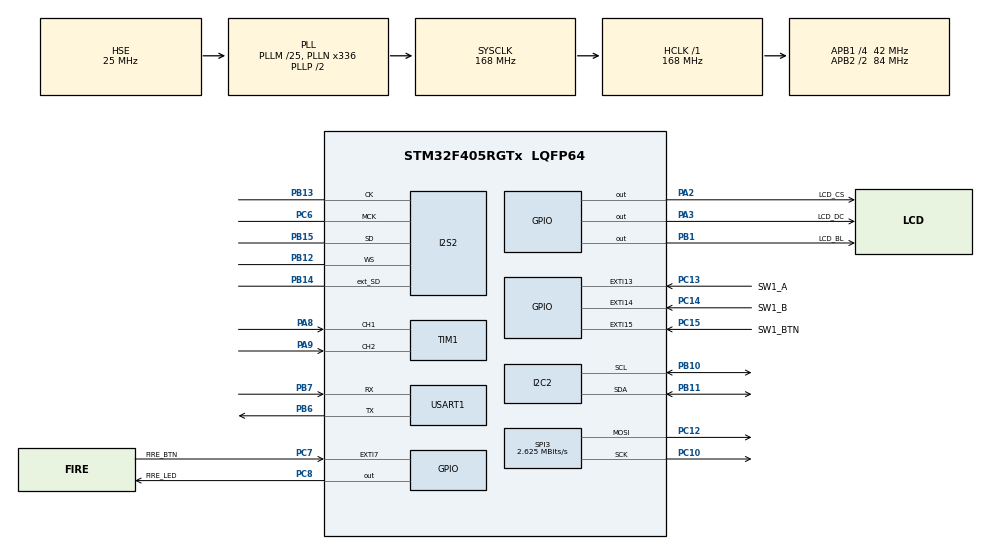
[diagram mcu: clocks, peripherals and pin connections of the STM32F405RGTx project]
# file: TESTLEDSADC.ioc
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Dma.Request0=SPI2_TX
Dma.SPI2_TX.0.Direction=DMA_MEMORY_TO_PERIPH
Dma.SPI2_TX.0.FIFOMode=DMA_FIFOMODE_ENABLE
Dma.SPI2_TX.0.FIFOThreshold=DMA_FIFO_THRESHOLD_FULL
Dma.SPI2_TX.0.Instance=DMA1_Stream4
Dma.SPI2_TX.0.MemBurst=DMA_MBURST_SINGLE
Dma.SPI2_TX.0.MemDataAlignment=DMA_MDATAALIGN_HALFWORD
Dma.SPI2_TX.0.MemInc=DMA_MINC_ENABLE
Dma.SPI2_TX.0.Mode=DMA_CIRCULAR
Dma.SPI2_TX.0.PeriphBurst=DMA_PBURST_SINGLE
Dma.SPI2_TX.0.PeriphDataAlignment=DMA_PDATAALIGN_HALFWORD
Dma.SPI2_TX.0.PeriphInc=DMA_PINC_DISABLE
Dma.SPI2_TX.0.Priority=DMA_PRIORITY_HIGH
I2S2.AudioFreq=I2S_AUDIOFREQ_48K
I2S2.DataFormat=I2S_DATAFORMAT_16B
I2S2.ErrorAudioFreq=-2.34 %
I2S2.FullDuplexMode=I2S_FULLDUPLEXMODE_ENABLE
I2S2.Instance=SPI$Index
I2S2.RealAudioFreq=46.875 KHz
I2S2.VirtualMode=I2S_MODE_MASTER
Mcu.Family=STM32F4
Mcu.Name=STM32F405RGTx
Mcu.Package=LQFP64
NVIC.DMA1_Stream4_IRQn=true\:0\:0\:false\:false\:true\:false\:true
NVIC.EXTI15_10_IRQn=true\:0\:0\:false\:false\:true\:true\:true
NVIC.EXTI9_5_IRQn=true\:0\:0\:false\:false\:true\:true\:true
NVIC.PriorityGroup=NVIC_PRIORITYGROUP_4
PA13.Mode=Serial_Wire
PA13.Signal=SYS_JTMS-SWDIO
PA14.Mode=Serial_Wire
PA14.Signal=SYS_JTCK-SWCLK
PA2.GPIO_Label=LCD_CS
PA2.Signal=GPIO_Output
PA3.GPIO_Label=LCD_DC
PA3.Signal=GPIO_Output
PA8.GPIO_PuPd=GPIO_PULLUP
PA8.Signal=S_TIM1_CH1
PA9.GPIO_PuPd=GPIO_PULLUP
PA9.Signal=S_TIM1_CH2
PB1.GPIO_Label=LCD_BL
PB1.Signal=GPIO_Output
PB10.Mode=I2C
PB10.Signal=I2C2_SCL
PB11.Mode=I2C
PB11.Signal=I2C2_SDA
PB12.Mode=Full_Duplex_Master
PB12.Signal=I2S2_WS
PB13.Mode=Full_Duplex_Master
PB13.Signal=I2S2_CK
PB14.Mode=Full_Duplex_Master
PB14.Signal=I2S2_ext_SD
PB15.Mode=Full_Duplex_Master
PB15.Signal=I2S2_SD
PB6.Mode=Asynchronous
PB6.Signal=USART1_TX
PB7.Mode=Asynchronous
PB7.Signal=USART1_RX
PC10.Mode=TX_Only_Simplex_Unidirect_Master
PC10.Signal=SPI3_SCK
PC12.Mode=TX_Only_Simplex_Unidirect_Master
PC12.Signal=SPI3_MOSI
PC13-ANTI_TAMP.GPIO_Label=SW1_A
PC13-ANTI_TAMP.GPIO_PuPd=GPIO_PULLUP
PC13-ANTI_TAMP.Signal=GPXTI13
PC14-OSC32_IN.GPIO_Label=SW1_B
PC14-OSC32_IN.GPIO_PuPd=GPIO_PULLUP
PC14-OSC32_IN.Signal=GPXTI14
PC15-OSC32_OUT.GPIO_Label=SW1_BTN
PC15-OSC32_OUT.GPIO_ModeDefaultEXTI=GPIO_MODE_IT_RISING
PC15-OSC32_OUT.GPIO_PuPd=GPIO_PULLUP
PC15-OSC32_OUT.Signal=GPXTI15
PC6.Mode=Master_Clock_Activated
PC6.Signal=I2S2_MCK
PC7.GPIO_Label=FIRE_BTN
PC7.GPIO_ModeDefaultEXTI=GPIO_MODE_IT_RISING_FALLING
PC7.GPIO_PuPd=GPIO_PULLUP
PC7.Signal=GPXTI7
PC8.GPIO_Label=FIRE_LED
PC8.Signal=GPIO_Output
PH0-OSC_IN.Mode=HSE-External-Oscillator
PH0-OSC_IN.Signal=RCC_OSC_IN
PH1-OSC_OUT.Mode=HSE-External-Oscillator
PH1-OSC_OUT.Signal=RCC_OSC_OUT
ProjectManager.HeapSize=0x200
ProjectManager.StackSize=0x400
ProjectManager.TargetToolchain=STM32CubeIDE
RCC.48MHZClocksFreq_Value=48000000
RCC.AHBFreq_Value=168000000
RCC.APB1CLKDivider=RCC_HCLK_DIV4
RCC.APB1Freq_Value=42000000
RCC.APB1TimFreq_Value=84000000
RCC.APB2CLKDivider=RCC_HCLK_DIV2
RCC.APB2Freq_Value=84000000
RCC.APB2TimFreq_Value=168000000
RCC.CortexFreq_Value=168000000
RCC.HCLKFreq_Value=168000000
RCC.HSE_VALUE=25000000
RCC.HSI_VALUE=16000000
RCC.LSE_VALUE=32768
RCC.PLLI2SN=144
RCC.PLLI2SR=3
RCC.PLLM=25
RCC.PLLN=336
RCC.PLLQ=7
RCC.PLLSourceVirtual=RCC_PLLSOURCE_HSE
RCC.SYSCLKFreq_VALUE=168000000
RCC.SYSCLKSource=RCC_SYSCLKSOURCE_PLLCLK
RCC.VCOOutputFreq_Value=336000000
SH.S_TIM1_CH1.0=TIM1_CH1,Encoder_Interface
SH.S_TIM1_CH2.0=TIM1_CH2,Encoder_Interface
SPI3.BaudRatePrescaler=SPI_BAUDRATEPRESCALER_16
SPI3.CalculateBaudRate=2.625 MBits/s
SPI3.Direction=SPI_DIRECTION_2LINES
SPI3.Mode=SPI_MODE_MASTER
SPI3.VirtualType=VM_MASTER
TIM1.EncoderMode=TIM_ENCODERMODE_TI12
TIM1.IC1Polarity=TIM_ICPOLARITY_FALLING
TIM1.IC2Polarity=TIM_ICPOLARITY_FALLING
USART1.VirtualMode=VM_ASYNC
VP_RNG_VS_RNG.Mode=RNG_Activate
board=custom

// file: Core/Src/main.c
/* USER CODE BEGIN Header */
/**
  ******************************************************************************
  * @file           : main.c
  * @brief          : Main program body
  ******************************************************************************
  * @attention
  *
  * <h2><center>&copy; Copyright (c) 2020 STMicroelectronics.
  * All rights reserved.</center></h2>
  *
  * This software component is licensed by ST under BSD 3-Clause license,
  * the "License"; You may not use this file except in compliance with the
  * License. You may obtain a copy of the License at:
  *                        opensource.org/licenses/BSD-3-Clause
  *
  ******************************************************************************
  */
/* USER CODE END Header */
#include "main.h"

/* USER CODE BEGIN Includes */
#include <stdio.h>
// #include "wm8978.h"
#include "maincpp.h"
/* DMA buffers for I2S */
//#include "audio.h"
/* USER CODE END Includes */

/* USER CODE BEGIN PD */
int nLoop = 0;

bool demoMode = true;
bool freeze = false;
bool sequencerIsOn = false;
//extern ADSR_t adsr;

/* USER CODE END PD */

I2C_HandleTypeDef hi2c2;

I2S_HandleTypeDef hi2s2;
DMA_HandleTypeDef hdma_spi2_tx;

RNG_HandleTypeDef hrng;

SPI_HandleTypeDef hspi3;

TIM_HandleTypeDef htim1;

UART_HandleTypeDef huart1;

void SystemClock_Config(void);
static void MX_GPIO_Init(void);
static void MX_DMA_Init(void);
static void MX_I2C2_Init(void);
static void MX_I2S2_Init(void);
static void MX_USART1_UART_Init(void);
static void MX_RNG_Init(void);
static void MX_SPI3_Init(void);
static void MX_TIM1_Init(void);

/* USER CODE BEGIN 0 */
int timer1 = 0;

/* USER CODE END 0 */

int main(void)
{

  /* MCU Configuration--------------------------------------------------------*/

  /* Reset of all peripherals, Initializes the Flash interface and the Systick. */
  HAL_Init();

  /* Configure the system clock */
  SystemClock_Config();

  /* Initialize all configured peripherals */
  MX_GPIO_Init();
  MX_DMA_Init();
  MX_I2C2_Init();
  MX_I2S2_Init();
  MX_USART1_UART_Init();
  MX_RNG_Init();
  MX_SPI3_Init();
  MX_TIM1_Init();
  /* USER CODE BEGIN 2 */

  // Start the Encoder Timers

  HAL_TIM_Encoder_Start(&htim1, TIM_CHANNEL_ALL);

  // Start the synth
  // Synth_Init();

  PS_Communication_Interface comms;
  comms.i2c = &hi2c2;
  comms.i2s = &hi2s2;
  comms.spi = &hspi3;
  comms.uart = &huart1;

  PS_Encoder_Timers enc;
  enc.tim1 = &htim1;

  LCD_GPIO lcd;
  lcd.CEPORT = LCD_CS_GPIO_Port;
  lcd.CEPIN = LCD_CS_Pin;
  lcd.DCPORT = LCD_DC_GPIO_Port;
  lcd.DCPIN = LCD_DC_Pin;
  lcd.BLPORT = LCD_BL_GPIO_Port;
  lcd.BLPIN = LCD_BL_Pin;
  lcd.SPICH = &hspi3;

  maincpp(&comms, &enc, &lcd); /// we can't use c++ reference here
  /* USER CODE END 2 */

  /* Infinite loop */
  /* USER CODE BEGIN WHILE */
  while (1)
  {
    // PS_Application();
    // timer1 = TIM1->CNT;
    /* USER CODE END WHILE */

  }
}

void SystemClock_Config(void)
{
  RCC_OscInitTypeDef RCC_OscInitStruct = {0};
  RCC_ClkInitTypeDef RCC_ClkInitStruct = {0};
  RCC_PeriphCLKInitTypeDef PeriphClkInitStruct = {0};

  /** Configure the main internal regulator output voltage
  */
  __HAL_RCC_PWR_CLK_ENABLE();
  __HAL_PWR_VOLTAGESCALING_CONFIG(PWR_REGULATOR_VOLTAGE_SCALE1);
  /** Initializes the RCC Oscillators according to the specified parameters
  * in the RCC_OscInitTypeDef structure.
  */
  RCC_OscInitStruct.OscillatorType = RCC_OSCILLATORTYPE_HSE;
  RCC_OscInitStruct.HSEState = RCC_HSE_ON;
  RCC_OscInitStruct.PLL.PLLState = RCC_PLL_ON;
  RCC_OscInitStruct.PLL.PLLSource = RCC_PLLSOURCE_HSE;
  RCC_OscInitStruct.PLL.PLLM = 25;
  RCC_OscInitStruct.PLL.PLLN = 336;
  RCC_OscInitStruct.PLL.PLLP = RCC_PLLP_DIV2;
  RCC_OscInitStruct.PLL.PLLQ = 7;
  if (HAL_RCC_OscConfig(&RCC_OscInitStruct) != HAL_OK)
  {
    Error_Handler();
  }
  /** Initializes the CPU, AHB and APB buses clocks
  */
  RCC_ClkInitStruct.ClockType = RCC_CLOCKTYPE_HCLK|RCC_CLOCKTYPE_SYSCLK
                              |RCC_CLOCKTYPE_PCLK1|RCC_CLOCKTYPE_PCLK2;
  RCC_ClkInitStruct.SYSCLKSource = RCC_SYSCLKSOURCE_PLLCLK;
  RCC_ClkInitStruct.AHBCLKDivider = RCC_SYSCLK_DIV1;
  RCC_ClkInitStruct.APB1CLKDivider = RCC_HCLK_DIV4;
  RCC_ClkInitStruct.APB2CLKDivider = RCC_HCLK_DIV2;

  if (HAL_RCC_ClockConfig(&RCC_ClkInitStruct, FLASH_LATENCY_5) != HAL_OK)
  {
    Error_Handler();
  }
  PeriphClkInitStruct.PeriphClockSelection = RCC_PERIPHCLK_I2S;
  PeriphClkInitStruct.PLLI2S.PLLI2SN = 144;
  PeriphClkInitStruct.PLLI2S.PLLI2SR = 3;
  if (HAL_RCCEx_PeriphCLKConfig(&PeriphClkInitStruct) != HAL_OK)
  {
    Error_Handler();
  }
}

static void MX_I2C2_Init(void)
{

  hi2c2.Instance = I2C2;
  hi2c2.Init.ClockSpeed = 100000;
  hi2c2.Init.DutyCycle = I2C_DUTYCYCLE_2;
  hi2c2.Init.OwnAddress1 = 0;
  hi2c2.Init.AddressingMode = I2C_ADDRESSINGMODE_7BIT;
  hi2c2.Init.DualAddressMode = I2C_DUALADDRESS_DISABLE;
  hi2c2.Init.OwnAddress2 = 0;
  hi2c2.Init.GeneralCallMode = I2C_GENERALCALL_DISABLE;
  hi2c2.Init.NoStretchMode = I2C_NOSTRETCH_DISABLE;
  if (HAL_I2C_Init(&hi2c2) != HAL_OK)
  {
    Error_Handler();
  }

}

static void MX_I2S2_Init(void)
{

  hi2s2.Instance = SPI2;
  hi2s2.Init.Mode = I2S_MODE_MASTER_TX;
  hi2s2.Init.Standard = I2S_STANDARD_PHILIPS;
  hi2s2.Init.DataFormat = I2S_DATAFORMAT_16B;
  hi2s2.Init.MCLKOutput = I2S_MCLKOUTPUT_ENABLE;
  hi2s2.Init.AudioFreq = I2S_AUDIOFREQ_48K;
  hi2s2.Init.CPOL = I2S_CPOL_LOW;
  hi2s2.Init.ClockSource = I2S_CLOCK_PLL;
  hi2s2.Init.FullDuplexMode = I2S_FULLDUPLEXMODE_ENABLE;
  if (HAL_I2S_Init(&hi2s2) != HAL_OK)
  {
    Error_Handler();
  }

}

static void MX_RNG_Init(void)
{

  hrng.Instance = RNG;
  if (HAL_RNG_Init(&hrng) != HAL_OK)
  {
    Error_Handler();
  }

}

static void MX_SPI3_Init(void)
{

  /* SPI3 parameter configuration*/
  hspi3.Instance = SPI3;
  hspi3.Init.Mode = SPI_MODE_MASTER;
  hspi3.Init.Direction = SPI_DIRECTION_2LINES;
  hspi3.Init.DataSize = SPI_DATASIZE_8BIT;
  hspi3.Init.CLKPolarity = SPI_POLARITY_LOW;
  hspi3.Init.CLKPhase = SPI_PHASE_1EDGE;
  hspi3.Init.NSS = SPI_NSS_SOFT;
  hspi3.Init.BaudRatePrescaler = SPI_BAUDRATEPRESCALER_16;
  hspi3.Init.FirstBit = SPI_FIRSTBIT_MSB;
  hspi3.Init.TIMode = SPI_TIMODE_DISABLE;
  hspi3.Init.CRCCalculation = SPI_CRCCALCULATION_DISABLE;
  hspi3.Init.CRCPolynomial = 10;
  if (HAL_SPI_Init(&hspi3) != HAL_OK)
  {
    Error_Handler();
  }

}

static void MX_TIM1_Init(void)
{

  TIM_Encoder_InitTypeDef sConfig = {0};
  TIM_MasterConfigTypeDef sMasterConfig = {0};

  htim1.Instance = TIM1;
  htim1.Init.Prescaler = 0;
  htim1.Init.CounterMode = TIM_COUNTERMODE_UP;
  htim1.Init.Period = 65535;
  htim1.Init.ClockDivision = TIM_CLOCKDIVISION_DIV1;
  htim1.Init.RepetitionCounter = 0;
  htim1.Init.AutoReloadPreload = TIM_AUTORELOAD_PRELOAD_DISABLE;
  sConfig.EncoderMode = TIM_ENCODERMODE_TI12;
  sConfig.IC1Polarity = TIM_ICPOLARITY_FALLING;
  sConfig.IC1Selection = TIM_ICSELECTION_DIRECTTI;
  sConfig.IC1Prescaler = TIM_ICPSC_DIV1;
  sConfig.IC1Filter = 0;
  sConfig.IC2Polarity = TIM_ICPOLARITY_FALLING;
  sConfig.IC2Selection = TIM_ICSELECTION_DIRECTTI;
  sConfig.IC2Prescaler = TIM_ICPSC_DIV1;
  sConfig.IC2Filter = 0;
  if (HAL_TIM_Encoder_Init(&htim1, &sConfig) != HAL_OK)
  {
    Error_Handler();
  }
  sMasterConfig.MasterOutputTrigger = TIM_TRGO_RESET;
  sMasterConfig.MasterSlaveMode = TIM_MASTERSLAVEMODE_DISABLE;
  if (HAL_TIMEx_MasterConfigSynchronization(&htim1, &sMasterConfig) != HAL_OK)
  {
    Error_Handler();
  }

}

static void MX_USART1_UART_Init(void)
{

  huart1.Instance = USART1;
  huart1.Init.BaudRate = 115200;
  huart1.Init.WordLength = UART_WORDLENGTH_8B;
  huart1.Init.StopBits = UART_STOPBITS_1;
  huart1.Init.Parity = UART_PARITY_NONE;
  huart1.Init.Mode = UART_MODE_TX_RX;
  huart1.Init.HwFlowCtl = UART_HWCONTROL_NONE;
  huart1.Init.OverSampling = UART_OVERSAMPLING_16;
  if (HAL_UART_Init(&huart1) != HAL_OK)
  {
    Error_Handler();
  }

}

static void MX_DMA_Init(void)
{

  /* DMA controller clock enable */
  __HAL_RCC_DMA1_CLK_ENABLE();

  /* DMA interrupt init */
  /* DMA1_Stream4_IRQn interrupt configuration */
  HAL_NVIC_SetPriority(DMA1_Stream4_IRQn, 0, 0);
  HAL_NVIC_EnableIRQ(DMA1_Stream4_IRQn);

}

static void MX_GPIO_Init(void)
{
  GPIO_InitTypeDef GPIO_InitStruct = {0};

  /* GPIO Ports Clock Enable */
  __HAL_RCC_GPIOC_CLK_ENABLE();
  __HAL_RCC_GPIOH_CLK_ENABLE();
  __HAL_RCC_GPIOA_CLK_ENABLE();
  __HAL_RCC_GPIOB_CLK_ENABLE();

  /*Configure GPIO pin Output Level */
  HAL_GPIO_WritePin(GPIOA, LCD_CS_Pin|LCD_DC_Pin, GPIO_PIN_RESET);

  /*Configure GPIO pin Output Level */
  HAL_GPIO_WritePin(LCD_BL_GPIO_Port, LCD_BL_Pin, GPIO_PIN_RESET);

  /*Configure GPIO pin Output Level */
  HAL_GPIO_WritePin(FIRE_LED_GPIO_Port, FIRE_LED_Pin, GPIO_PIN_RESET);

  /*Configure GPIO pins : SW1_A_Pin SW1_B_Pin SW1_BTN_Pin */
  GPIO_InitStruct.Pin = SW1_A_Pin|SW1_B_Pin|SW1_BTN_Pin;
  GPIO_InitStruct.Mode = GPIO_MODE_IT_RISING;
  GPIO_InitStruct.Pull = GPIO_PULLUP;
  HAL_GPIO_Init(GPIOC, &GPIO_InitStruct);

  /*Configure GPIO pins : LCD_CS_Pin LCD_DC_Pin */
  GPIO_InitStruct.Pin = LCD_CS_Pin|LCD_DC_Pin;
  GPIO_InitStruct.Mode = GPIO_MODE_OUTPUT_PP;
  GPIO_InitStruct.Pull = GPIO_NOPULL;
  GPIO_InitStruct.Speed = GPIO_SPEED_FREQ_LOW;
  HAL_GPIO_Init(GPIOA, &GPIO_InitStruct);

  /*Configure GPIO pin : LCD_BL_Pin */
  GPIO_InitStruct.Pin = LCD_BL_Pin;
  GPIO_InitStruct.Mode = GPIO_MODE_OUTPUT_PP;
  GPIO_InitStruct.Pull = GPIO_NOPULL;
  GPIO_InitStruct.Speed = GPIO_SPEED_FREQ_LOW;
  HAL_GPIO_Init(LCD_BL_GPIO_Port, &GPIO_InitStruct);

  /*Configure GPIO pin : FIRE_BTN_Pin */
  GPIO_InitStruct.Pin = FIRE_BTN_Pin;
  GPIO_InitStruct.Mode = GPIO_MODE_IT_RISING_FALLING;
  GPIO_InitStruct.Pull = GPIO_PULLUP;
  HAL_GPIO_Init(FIRE_BTN_GPIO_Port, &GPIO_InitStruct);

  /*Configure GPIO pin : FIRE_LED_Pin */
  GPIO_InitStruct.Pin = FIRE_LED_Pin;
  GPIO_InitStruct.Mode = GPIO_MODE_OUTPUT_PP;
  GPIO_InitStruct.Pull = GPIO_NOPULL;
  GPIO_InitStruct.Speed = GPIO_SPEED_FREQ_LOW;
  HAL_GPIO_Init(FIRE_LED_GPIO_Port, &GPIO_InitStruct);

  /* EXTI interrupt init*/
  HAL_NVIC_SetPriority(EXTI9_5_IRQn, 0, 0);
  HAL_NVIC_EnableIRQ(EXTI9_5_IRQn);

  HAL_NVIC_SetPriority(EXTI15_10_IRQn, 0, 0);
  HAL_NVIC_EnableIRQ(EXTI15_10_IRQn);

}

void Error_Handler(void)
{
}

/************************ (C) COPYRIGHT STMicroelectronics *****END OF FILE****/
